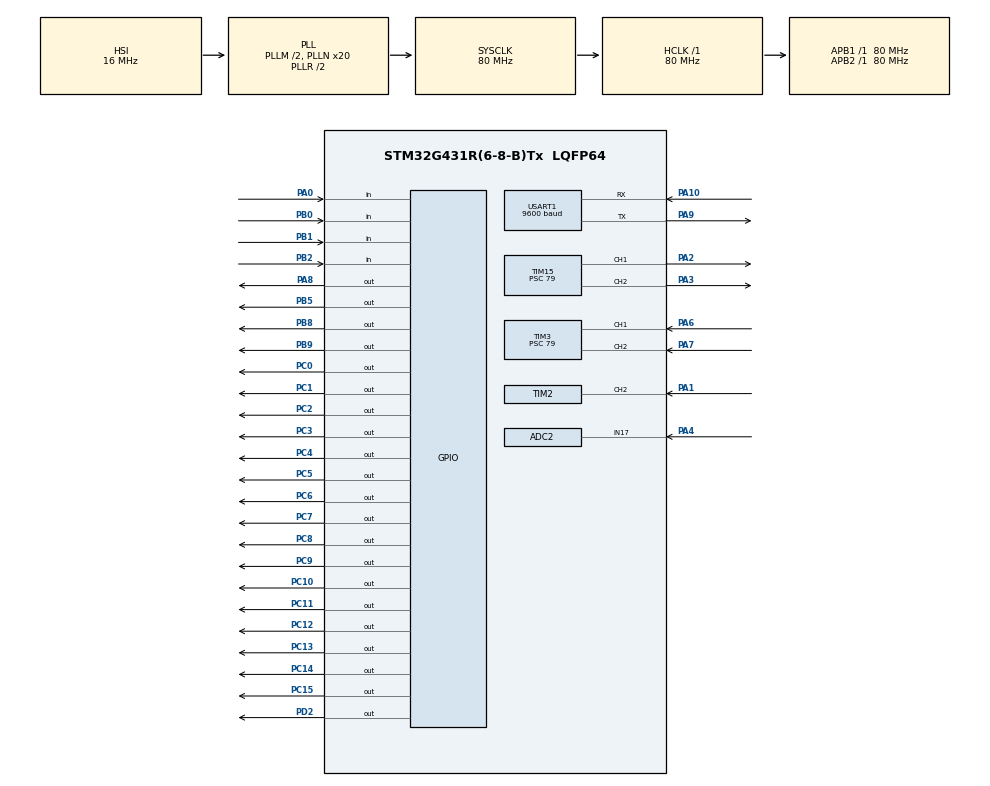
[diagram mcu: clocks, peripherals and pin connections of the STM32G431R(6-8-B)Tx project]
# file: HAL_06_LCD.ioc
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ADC2.Channel-0\#ChannelRegularConversion=ADC_CHANNEL_17
ADC2.NbrOfConversionFlag=1
ADC2.OffsetNumber-0\#ChannelRegularConversion=ADC_OFFSET_NONE
ADC2.Rank-0\#ChannelRegularConversion=1
ADC2.SamplingTime-0\#ChannelRegularConversion=ADC_SAMPLETIME_640CYCLES_5
Mcu.Family=STM32G4
Mcu.Name=STM32G431R(6-8-B)Tx
Mcu.Package=LQFP64
NVIC.PriorityGroup=NVIC_PRIORITYGROUP_4
NVIC.TIM2_IRQn=true\:0\:0\:false\:false\:true\:true\:true\:true
NVIC.TIM3_IRQn=true\:0\:0\:false\:false\:true\:true\:true\:true
NVIC.USART1_IRQn=true\:0\:0\:false\:false\:true\:true\:true\:true
PA0.GPIO_PuPd=GPIO_PULLUP
PA0.Signal=GPIO_Input
PA1.Signal=S_TIM2_CH2
PA10.Mode=Asynchronous
PA10.Signal=USART1_RX
PA13.Mode=Serial_Wire
PA13.Signal=SYS_JTMS-SWDIO
PA14.Mode=Serial_Wire
PA14.Signal=SYS_JTCK-SWCLK
PA2.Signal=S_TIM15_CH1
PA3.Signal=S_TIM15_CH2
PA4.Mode=IN17-Single-Ended
PA4.Signal=ADC2_IN17
PA6.Signal=S_TIM3_CH1
PA7.Signal=S_TIM3_CH2
PA8.Signal=GPIO_Output
PA9.Mode=Asynchronous
PA9.Signal=USART1_TX
PB0.GPIO_Mode=GPIO_MODE_INPUT
PB0.GPIO_PuPd=GPIO_PULLUP
PB0.Signal=GPIO_Input
PB1.GPIO_Mode=GPIO_MODE_INPUT
PB1.GPIO_PuPd=GPIO_PULLUP
PB1.Signal=GPIO_Input
PB2.GPIO_Mode=GPIO_MODE_INPUT
PB2.GPIO_PuPd=GPIO_PULLUP
PB2.Signal=GPIO_Input
PB5.Signal=GPIO_Output
PB8-BOOT0.Signal=GPIO_Output
PB9.Signal=GPIO_Output
PC0.Signal=GPIO_Output
PC1.Signal=GPIO_Output
PC10.Signal=GPIO_Output
PC11.Signal=GPIO_Output
PC12.Signal=GPIO_Output
PC13.Signal=GPIO_Output
PC14-OSC32_IN.Signal=GPIO_Output
PC15-OSC32_OUT.Signal=GPIO_Output
PC2.Signal=GPIO_Output
PC3.Signal=GPIO_Output
PC4.Signal=GPIO_Output
PC5.Signal=GPIO_Output
PC6.Signal=GPIO_Output
PC7.Signal=GPIO_Output
PC8.Signal=GPIO_Output
PC9.Signal=GPIO_Output
PD2.Signal=GPIO_Output
PF0-OSC_IN.Mode=HSE-External-Oscillator
PF0-OSC_IN.Signal=RCC_OSC_IN
PF1-OSC_OUT.Mode=HSE-External-Oscillator
PF1-OSC_OUT.Signal=RCC_OSC_OUT
ProjectManager.HeapSize=0x200
ProjectManager.StackSize=0x400
ProjectManager.TargetToolchain=MDK-ARM V5
RCC.ADC12Freq_Value=80000000
RCC.AHBFreq_Value=80000000
RCC.APB1Freq_Value=80000000
RCC.APB1TimFreq_Value=80000000
RCC.APB2Freq_Value=80000000
RCC.APB2TimFreq_Value=80000000
RCC.CortexFreq_Value=80000000
RCC.EXTERNAL_CLOCK_VALUE=12288000
RCC.HCLKFreq_Value=80000000
RCC.HSE_VALUE=24000000
RCC.HSI48_VALUE=48000000
RCC.HSI_VALUE=16000000
RCC.LSE_VALUE=32768
RCC.PLLM=RCC_PLLM_DIV2
RCC.PLLN=20
RCC.SYSCLKFreq_VALUE=80000000
RCC.SYSCLKSource=RCC_SYSCLKSOURCE_PLLCLK
RCC.USBFreq_Value=80000000
RCC.VCOOutputFreq_Value=160000000
SH.S_TIM15_CH1.0=TIM15_CH1,PWM Generation1 CH1
SH.S_TIM15_CH2.0=TIM15_CH2,PWM Generation2 CH2
SH.S_TIM2_CH2.0=TIM2_CH2,Input_Capture2_from_TI2
SH.S_TIM3_CH1.0=TIM3_CH1,Input_Capture1_from_TI1
SH.S_TIM3_CH2.0=TIM3_CH2,Input_Capture2_from_TI2
TIM15.Channel-PWM\ Generation1\ CH1=TIM_CHANNEL_1
TIM15.Channel-PWM\ Generation2\ CH2=TIM_CHANNEL_2
TIM15.PeriodNoDither=999
TIM15.Prescaler=79
TIM15.PulseNoDither_1=300
TIM15.PulseNoDither_2=600
TIM2.Channel-Input_Capture2_from_TI2=TIM_CHANNEL_2
TIM2.Prescaler=79
TIM3.Channel-Input_Capture1_from_TI1=TIM_CHANNEL_1
TIM3.Channel-Input_Capture2_from_TI2=TIM_CHANNEL_2
TIM3.Prescaler=79
USART1.BaudRate=9600
USART1.VirtualMode-Asynchronous=VM_ASYNC
VP_SYS_VS_DBSignals.Mode=DisableDeadBatterySignals
board=custom

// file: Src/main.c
/* USER CODE BEGIN Header */
/**
  ******************************************************************************
  * @file           : main.c
  * @brief          : Main program body
  ******************************************************************************
  * @attention
  *
  * <h2><center>&copy; Copyright (c) 2021 STMicroelectronics.
  * All rights reserved.</center></h2>
  *
  * This software component is licensed by ST under BSD 3-Clause license,
  * the "License"; You may not use this file except in compliance with the
  * License. You may obtain a copy of the License at:
  *                        opensource.org/licenses/BSD-3-Clause
  *
  ******************************************************************************
  */
/* USER CODE END Header */
#include "main.h"
#include "adc.h"
#include "tim.h"
#include "usart.h"
#include "gpio.h"

/* USER CODE BEGIN Includes */
#include "user.h"

/* USER CODE END Includes */

void SystemClock_Config(void);

int main(void)
{

  /* MCU Configuration--------------------------------------------------------*/

  /* Reset of all peripherals, Initializes the Flash interface and the Systick. */
  HAL_Init();

  /* Configure the system clock */
  SystemClock_Config();

  /* Initialize all configured peripherals */
  MX_GPIO_Init();
  MX_ADC2_Init();
  MX_TIM2_Init();
  MX_TIM3_Init();
  MX_USART1_UART_Init();
  MX_TIM15_Init();
  /* USER CODE BEGIN 2 */

	LCD_Init();
  /* USER CODE END 2 */

  /* Infinite loop */
  /* USER CODE BEGIN WHILE */
  HAL_TIM_IC_Start_IT(&htim2, TIM_CHANNEL_2);
  HAL_TIM_IC_Start_IT(&htim3, TIM_CHANNEL_1);
  HAL_TIM_IC_Start_IT(&htim3, TIM_CHANNEL_2);

//  HAL_TIM_PWM_Start(&htim15, TIM_CHANNEL_1);          //使能PWM，用于模拟
//  HAL_TIM_PWM_Start(&htim15, TIM_CHANNEL_2);
  HAL_UART_Receive_IT(&huart1, &rx_data, 1);

  led_disp(0);

	LCD_Clear(Black);
	LCD_SetBackColor(Black);
	LCD_SetTextColor(White);

  while (1)
  {
    /* USER CODE END WHILE */

    /* USER CODE BEGIN 3 */
        led_proc();
        key_proc();
        lcd_proc();
        adc_proc();
        rx_proc();

  }
  /* USER CODE END 3 */
}

void SystemClock_Config(void)
{
  RCC_OscInitTypeDef RCC_OscInitStruct = {0};
  RCC_ClkInitTypeDef RCC_ClkInitStruct = {0};

  /** Configure the main internal regulator output voltage
  */
  HAL_PWREx_ControlVoltageScaling(PWR_REGULATOR_VOLTAGE_SCALE1);

  /** Initializes the RCC Oscillators according to the specified parameters
  * in the RCC_OscInitTypeDef structure.
  */
  RCC_OscInitStruct.OscillatorType = RCC_OSCILLATORTYPE_HSI;
  RCC_OscInitStruct.HSIState = RCC_HSI_ON;
  RCC_OscInitStruct.HSICalibrationValue = RCC_HSICALIBRATION_DEFAULT;
  RCC_OscInitStruct.PLL.PLLState = RCC_PLL_ON;
  RCC_OscInitStruct.PLL.PLLSource = RCC_PLLSOURCE_HSI;
  RCC_OscInitStruct.PLL.PLLM = RCC_PLLM_DIV2;
  RCC_OscInitStruct.PLL.PLLN = 20;
  RCC_OscInitStruct.PLL.PLLP = RCC_PLLP_DIV2;
  RCC_OscInitStruct.PLL.PLLQ = RCC_PLLQ_DIV2;
  RCC_OscInitStruct.PLL.PLLR = RCC_PLLR_DIV2;
  if (HAL_RCC_OscConfig(&RCC_OscInitStruct) != HAL_OK)
  {
    Error_Handler();
  }

  /** Initializes the CPU, AHB and APB buses clocks
  */
  RCC_ClkInitStruct.ClockType = RCC_CLOCKTYPE_HCLK|RCC_CLOCKTYPE_SYSCLK
                              |RCC_CLOCKTYPE_PCLK1|RCC_CLOCKTYPE_PCLK2;
  RCC_ClkInitStruct.SYSCLKSource = RCC_SYSCLKSOURCE_PLLCLK;
  RCC_ClkInitStruct.AHBCLKDivider = RCC_SYSCLK_DIV1;
  RCC_ClkInitStruct.APB1CLKDivider = RCC_HCLK_DIV1;
  RCC_ClkInitStruct.APB2CLKDivider = RCC_HCLK_DIV1;

  if (HAL_RCC_ClockConfig(&RCC_ClkInitStruct, FLASH_LATENCY_2) != HAL_OK)
  {
    Error_Handler();
  }
}

void Error_Handler(void)
{
}
